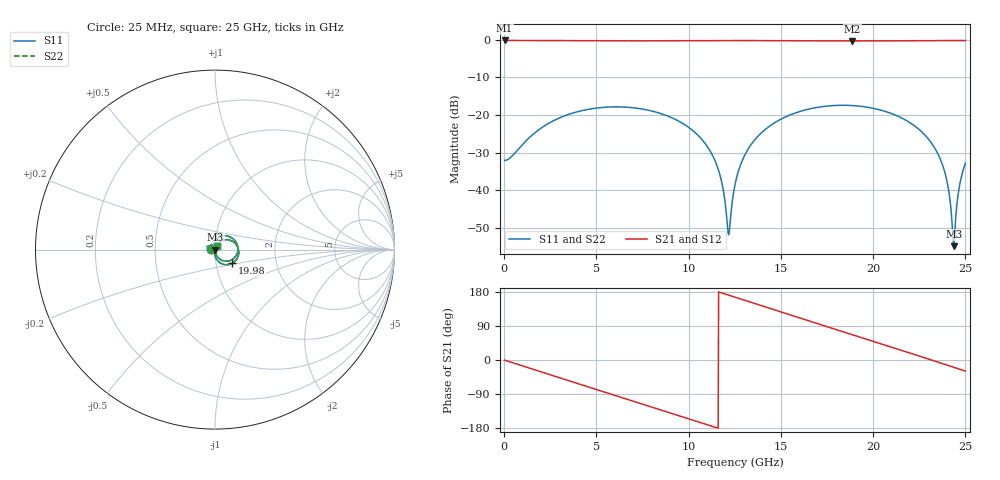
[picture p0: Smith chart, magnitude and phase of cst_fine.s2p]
! thru_RG_ts6p_L1: 2×thru, L1, 8 mm
! stackup: ThunderScope Rev5.3 6-layer with the In2 plane
! ports: 1, 2
! CST Studio Suite 2025.5 Release from 2025-05-30, time domain (FIT, hexahedral, PBA), 78660 mesh cells, 18 s
! mesh: {'lpw': 30.0, 'lpb': 30.0, 'minstep': 0.0, 'ratio': 20}; ports: port 1 (face); port 2 (face)
! interpolated from CST's 1001 samples to the case grid
# Hz S RI R 50
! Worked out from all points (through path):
!   1000 points, 25 MHz to 25 GHz, reference 50 ohm
!   highest |S21| = -0.23 dB at 25 MHz (marker M1); lowest = -0.4 dB at 18.88 GHz (marker M2)
!   group delay of S21, straight-line fit = 43.2 ps
!   lowest |S11| = -54.9 dB at 24.38 GHz (marker M3), VSWR 1.00, Z = 50.2 - j0.0236 ohm
!   |S11| at or under -10 dB: start of sweep to end of sweep
!   |S22| runs from -54.9 to -17.5 dB; largest |S21 - S12| = 5.4e-07
!   S11 on the Smith chart (normalised r, x): 25 MHz: 0.95, +0.00; 19.98 GHz: 1.20, -0.18; 25 GHz: 1.02, +0.04
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2.5e7  -0.0248 0.000982  0.9744 -0.00666  0.9744 -0.00666  -0.0248 0.000982
1.975e9  0.0109 0.0651  0.8342 -0.4995  0.8342 -0.4995  0.0109 0.0651
4.2e9  0.0927 0.0657  0.4009 -0.8798  0.4009 -0.8798  0.0927 0.0657
6.25e9  0.1277 0.00102  -0.1194 -0.9559  -0.1194 -0.9559  0.1277 0.00102
8.35e9  0.0891 -0.0587  -0.6127 -0.7444  -0.6127 -0.7444  0.0891 -0.0587
9.975e9  0.036 -0.0588  -0.8739 -0.4145  -0.8739 -0.4145  0.036 -0.0588
1.11e10  0.00953 -0.0338  -0.9603 -0.1323  -0.9603 -0.1323  0.00953 -0.0338
1.1725e10  0.00299 -0.0146  -0.9697 0.0326  -0.9697 0.0326  0.00299 -0.0146
1.215e10  0.00249 -0.000807  -0.9598 0.1449  -0.9598 0.1449  0.00249 -0.000807
1.2525e10  0.00475 0.0112  -0.9401 0.2425  -0.9401 0.2425  0.00475 0.0112
1.3025e10  0.0116 0.0262  -0.8982 0.3685  -0.8982 0.3685  0.0116 0.0262
1.385e10  0.0309 0.0454  -0.7922 0.5599  -0.7922 0.5599  0.0309 0.0454
1.6675e10  0.1186 0.0275  -0.1783 0.9467  -0.1783 0.9467  0.1186 0.0275
1.8875e10  0.1241 -0.0477  0.3798 0.8816  0.3798 0.8816  0.1241 -0.0477
1.9975e10  0.0966 -0.0756  0.6211 0.7332  0.6211 0.7332  0.0966 -0.0756
2.085e10  0.0666 -0.0841  0.7773 0.5685  0.7773 0.5685  0.0666 -0.0841
2.2375e10  0.0176 -0.0652  0.9456 0.2075  0.9456 0.2075  0.0176 -0.0652
2.34e10  0.000281 -0.0341  0.9689 -0.0641  0.9689 -0.0641  0.000281 -0.0341
2.395e10  -0.00113 -0.0149  0.9488 -0.2104  0.9488 -0.2104  -0.00113 -0.0149
2.4375e10  0.00179 -0.000236  0.9177 -0.3206  0.9177 -0.3206  0.00179 -0.000236
2.47e10  0.00629 0.0103  0.885 -0.4019  0.885 -0.4019  0.00629 0.0103
2.5e10  0.0121 0.0193  0.8482 -0.474  0.8482 -0.474  0.0121 0.0193
